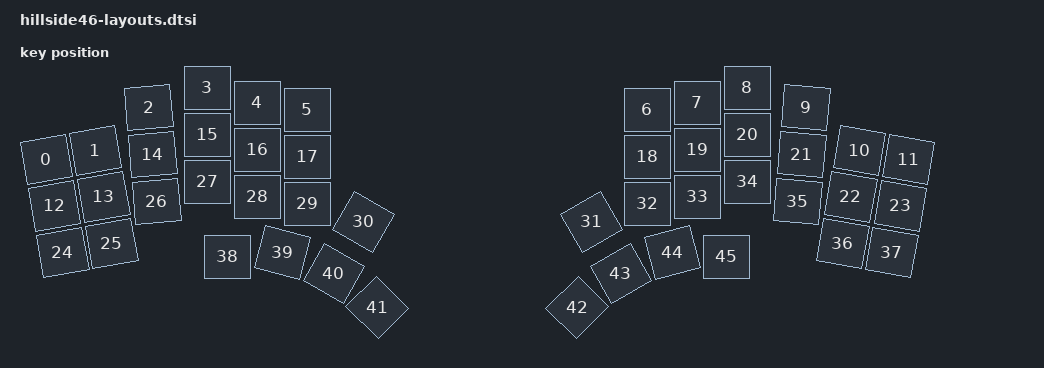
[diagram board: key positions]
#include <physical_layouts.dtsi>

/ {
    physical_layout0: physical_layout_0 {
        compatible = "zmk,physical-layout";
        display-name = "Hillside 46";

        keys
            // Main row 0
            = <&key_physical_attrs 100  94   50 194 (-1000)  100 241>  //  0: L K1
            , <&key_physical_attrs 100  94  148 176 (-1000)  198 223>  //  1: L K2
            , <&key_physical_attrs 100  94  255  90  (-500)  305 137>  //  2: L K3
            , <&key_physical_attrs 100  94  372  50       0  422  97>  //  3: L K4
            , <&key_physical_attrs 100  94  472  81       0  522 128>  //  4: L K5
            , <&key_physical_attrs 100  94  572  94       0  622 141>  //  5: L K6

            , <&key_physical_attrs 100  94 1252  94       0 1302 141>  //  6: R K6
            , <&key_physical_attrs 100  94 1352  81       0 1402 128>  //  7: R K5
            , <&key_physical_attrs 100  94 1452  50       0 1502  97>  //  8: R K4
            , <&key_physical_attrs 100  94 1569  90     500 1619 137>  //  9: R K3
            , <&key_physical_attrs 100  94 1676 176    1000 1726 223>  // 10: R K2
            , <&key_physical_attrs 100  94 1774 194    1000 1824 241>  // 11: R K1

            // Main row 1
            , <&key_physical_attrs 100  94   66 287 (-1000)  116 334>  // 12: L K7
            , <&key_physical_attrs 100  94  165 269 (-1000)  215 316>  // 13: L K8
            , <&key_physical_attrs 100  94  263 184  (-500)  313 231>  // 14: L K9
            , <&key_physical_attrs 100  94  372 144       0  422 191>  // 15: L K10
            , <&key_physical_attrs 100  94  472 175       0  522 222>  // 16: L K11
            , <&key_physical_attrs 100  94  572 189       0  622 236>  // 17: L K12

            , <&key_physical_attrs 100  94 1252 189       0 1302 236>  // 18: R K12
            , <&key_physical_attrs 100  94 1352 175       0 1402 222>  // 19: R K11
            , <&key_physical_attrs 100  94 1452 144       0 1502 191>  // 20: R K10
            , <&key_physical_attrs 100  94 1561 184     500 1611 231>  // 21: R K9
            , <&key_physical_attrs 100  94 1659 269    1000 1709 316>  // 22: R K8
            , <&key_physical_attrs 100  94 1758 287    1000 1808 334>  // 23: R K7

            // Main row 2 + upper thumb keys
            , <&key_physical_attrs 100  94   83 380 (-1000)  133 427>  // 24: L K13
            , <&key_physical_attrs 100  94  181 362 (-1000)  231 409>  // 25: L K14
            , <&key_physical_attrs 100  94  271 278  (-500)  321 325>  // 26: L K15
            , <&key_physical_attrs 100  94  372 239       0  422 286>  // 27: L K16
            , <&key_physical_attrs 100  94  472 269       0  522 316>  // 28: L K17
            , <&key_physical_attrs 100  94  572 283       0  622 330>  // 29: L K18

            , <&key_physical_attrs 100  94  684 319    3000  734 366>  // 30: L K19 upper thumb
            , <&key_physical_attrs 100  94 1140 319 (-3000) 1190 366>  // 31: R K19 upper thumb

            , <&key_physical_attrs 100  94 1252 283       0 1302 330>  // 32: R K18
            , <&key_physical_attrs 100  94 1352 269       0 1402 316>  // 33: R K17
            , <&key_physical_attrs 100  94 1452 239       0 1502 286>  // 34: R K16
            , <&key_physical_attrs 100  94 1553 278     500 1603 325>  // 35: R K15
            , <&key_physical_attrs 100  94 1643 362    1000 1693 409>  // 36: R K14
            , <&key_physical_attrs 100  94 1741 380    1000 1791 427>  // 37: R K13

            // Lower thumb arc
            , <&key_physical_attrs 100  94  413 389       0  463 436>  // 38: L K20
            , <&key_physical_attrs 100  94  522 380    1500  572 427>  // 39: L K21
            , <&key_physical_attrs 100  94  625 422    3000  675 469>  // 40: L K22
            , <&key_physical_attrs 100  94  712 490    4500  762 537>  // 41: L K23

            , <&key_physical_attrs 100  94 1112 490 (-4500) 1162 537>  // 42: R K23
            , <&key_physical_attrs 100  94 1199 422 (-3000) 1249 469>  // 43: R K22
            , <&key_physical_attrs 100  94 1302 380 (-1500) 1352 427>  // 44: R K21
            , <&key_physical_attrs 100  94 1411 389       0 1461 436>  // 45: R K20
            ;
    };
};
